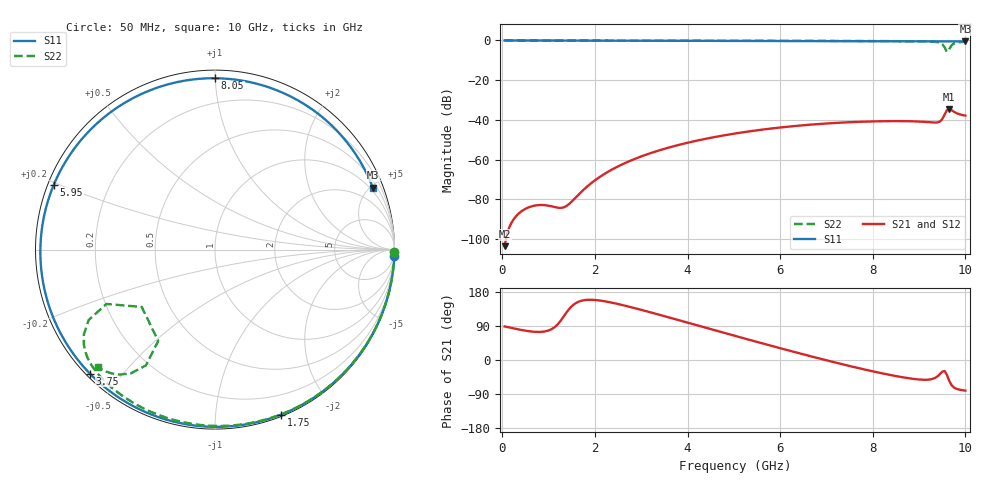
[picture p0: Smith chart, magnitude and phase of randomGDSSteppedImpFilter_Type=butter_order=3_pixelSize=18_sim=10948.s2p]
! freq	dB(S11)	phase(S11)	dB(S12)	phase(S12)
!  dB(S21)	phase(S21)	dB(S22)	phase(S22)
!S-par simulation data
#  GHz  S  DB  R 50
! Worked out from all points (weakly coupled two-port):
!   200 points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, 50 MHz to 10 GHz, reference 50 ohm
!   highest |S21| = -34.48 dB at 9.65 GHz (marker M1); lowest = -103.6 dB at 50 MHz (marker M2)
!   lowest |S11| = -0.5 dB at 10 GHz (marker M3), VSWR 34.91, Z = 40.3 + j257 ohm
!   |S11| at or under -10 dB: nowhere
!   |S22| runs from -5.7 to 0.0 dB; largest |S21 - S12| = 0
!   S11 on the Smith chart (normalised r, x): 50 MHz: 0, -56; 1.75 GHz: 0.02, -1.48; 3.75 GHz: 0.01, -0.41; 5.95 GHz: 0.02, +0.19; 8.05 GHz: 0.05, +1.00; 10 GHz: 0.81, +5.15
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0.05  -0.00 -2.0  -103.58 88.6  -103.58 88.6  -0.00 -0.8
0.75  -0.04 -30.1  -82.97 74.1  -82.97 74.1  -0.02 -12.2
1.55  -0.08 -60.8  -79.93 147.1  -79.93 147.1  -0.03 -25.1
1.75  -0.08 -68.2  -75.27 157.5  -75.27 157.5  -0.04 -28.2
2.45  -0.11 -93.0  -63.99 149.1  -63.99 149.1  -0.05 -39.2
3.4  -0.15 -124.3  -55.26 119.1  -55.26 119.1  -0.07 -53.7
3.75  -0.16 -135.3  -52.96 107.2  -52.96 107.2  -0.08 -58.9
4.4  -0.19 -155.2  -49.48 84.9  -49.48 84.9  -0.10 -68.4
5.05  -0.23 -174.7  -46.77 62.8  -46.77 62.8  -0.12 -77.7
5.95  -0.28 158.0  -43.96 32.8  -43.96 32.8  -0.16 -90.1
6.7  -0.33 134.6  -42.31 8.6  -42.31 8.6  -0.19 -100.3
7.4  -0.37 111.9  -41.27 -12.9  -41.27 -12.9  -0.24 -109.6
8.05  -0.40 90.0  -40.73 -31.3  -40.73 -31.3  -0.29 -118.3
8.35  -0.41 79.6  -40.62 -38.9  -40.62 -38.9  -0.32 -122.4
9.15  -0.45 51.5  -41.03 -52.2  -41.03 -52.2  -0.48 -135.6
9.45  -0.46 40.9  -40.81 -37.1  -40.81 -37.1  -1.21 -147.1
9.55  -0.47 37.3  -37.41 -29.0  -37.41 -29.0  -3.40 -153.4
9.6  -0.47 35.5  -35.13 -38.7  -35.13 -38.7  -5.71 -141.9
9.65  -0.48 33.8  -34.48 -54.8  -34.48 -54.8  -4.44 -121.8
9.7  -0.48 32.0  -35.07 -66.3  -35.07 -66.3  -2.48 -120.8
9.75  -0.48 30.2  -35.86 -72.3  -35.86 -72.3  -1.57 -124.2
10  -0.50 21.5  -37.84 -80.9  -37.84 -80.9  -0.68 -134.9
